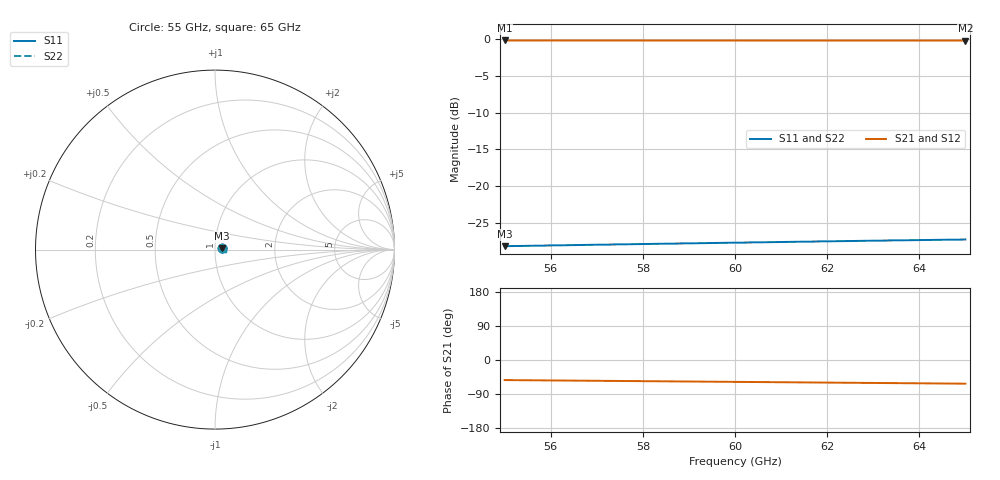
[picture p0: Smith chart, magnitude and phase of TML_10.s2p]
! Created Fri Dec 22 15:32:32 2023
! List of port names and net name(s): example Port n = <port_name> <net_name1> <net_name2> ...
! Port 1 = P1 N__1 P4
! Port 2 = P3 N__1 P4
# hz S ma R 50
! 2 Port Network Data from data block
! freq  magS11  angS11  magS21  angS21  magS12  angS12  magS22  angS22
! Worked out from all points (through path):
!   24 points, 55 GHz to 65 GHz, reference 50 ohm
!   highest |S21| = -0.18 dB at 55 GHz (marker M1); lowest = -0.2 dB at 65 GHz (marker M2)
!   group delay of S21, straight-line fit = 2.64 ps
!   lowest |S11| = -28.2 dB at 55 GHz (marker M3), VSWR 1.08, Z = 54 + j0.746 ohm
!   |S11| at or under -10 dB: start of sweep to end of sweep
!   |S22| runs from -28.2 to -27.2 dB; largest |S21 - S12| = 0
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5.5e10  0.03899 10.2  0.9798 -53.0  0.9798 -53.0  0.0391 10.0
5.543478e10  0.03916 9.9  0.9797 -53.4  0.9797 -53.4  0.03928 9.7
5.586957e10  0.03937 9.5  0.9796 -53.8  0.9796 -53.8  0.03949 9.3
5.673913e10  0.03976 8.8  0.9794 -54.6  0.9794 -54.6  0.03988 8.6
5.76087e10  0.04014 8.2  0.9792 -55.5  0.9792 -55.5  0.04026 8.0
5.804348e10  0.04033 7.9  0.9791 -55.9  0.9791 -55.9  0.04045 7.6
5.847826e10  0.04052 7.5  0.9791 -56.3  0.9791 -56.3  0.04064 7.3
5.891304e10  0.04071 7.2  0.979 -56.7  0.979 -56.7  0.04083 7.0
5.934783e10  0.0409 6.9  0.9789 -57.1  0.9789 -57.1  0.04102 6.7
5.978261e10  0.04109 6.5  0.9788 -57.5  0.9788 -57.5  0.04121 6.3
6.021739e10  0.04127 6.2  0.9787 -57.9  0.9787 -57.9  0.04139 6.0
6.065217e10  0.04146 5.9  0.9786 -58.3  0.9786 -58.3  0.04159 5.7
6.108696e10  0.04165 5.6  0.9785 -58.8  0.9785 -58.8  0.04178 5.4
6.152174e10  0.04185 5.3  0.9784 -59.2  0.9784 -59.2  0.04197 5.0
6.195652e10  0.04204 4.9  0.9783 -59.6  0.9783 -59.6  0.04216 4.7
6.23913e10  0.04222 4.6  0.9782 -60.0  0.9782 -60.0  0.04235 4.4
6.282609e10  0.04241 4.3  0.9782 -60.4  0.9782 -60.4  0.04254 4.1
6.326087e10  0.04259 4.0  0.9781 -60.8  0.9781 -60.8  0.04272 3.8
6.369565e10  0.04277 3.7  0.978 -61.2  0.978 -61.2  0.0429 3.5
6.413043e10  0.04294 3.4  0.9779 -61.6  0.9779 -61.6  0.04308 3.1
6.456522e10  0.04312 3.0  0.9778 -62.1  0.9778 -62.1  0.04325 2.8
6.5e10  0.04329 2.7  0.9777 -62.5  0.9777 -62.5  0.04343 2.5
